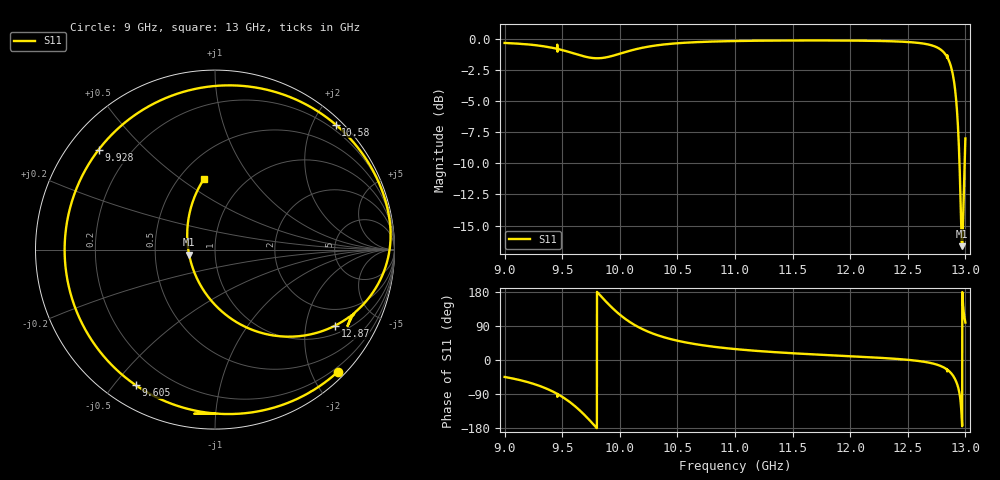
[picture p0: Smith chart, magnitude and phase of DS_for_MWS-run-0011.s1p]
! TOUCHSTONE file generated by CST DESIGN STUDIO
! Date and time: Tue Feb  4 18:18:09 2025
! Project name: C:\Work\MatlabApps\UnitCellOptimizationMatlab\CST\unitcell.cst
! Tree item: Tasks\Sweep1\SPara1\S-Parameters
! Header version: 2024
! Port assignment regex: !\s*Touchstone port\s*([0-9]+)\s*=\s*(CST MWS port|CST DES external port|CST DES block port)\s*(.+)\s* \(\"(.*)\"\)(\s*mode\s*([0-9]+))?.*
! Touchstone port assignment:
! Touchstone port 1 = CST DES external port 1 ("")
# GHz S MA R 50
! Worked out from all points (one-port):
!   4001 points, 9 GHz to 13 GHz, reference 50 ohm
!   lowest |S11| = -16.7 dB at 12.97 GHz (marker M1), VSWR 1.34, Z = 37.4 - j2.23 ohm
!   |S11| at or under -10 dB: 12.94896 GHz to 12.99234 GHz (43.38 MHz wide, 0.334 % of centre)
!   S11 on the Smith chart (normalised r, x): 9 GHz: 0.12, -2.43; 9.605 GHz: 0.09, -0.57; 9.928 GHz: 0.09, +0.37; 10.58 GHz: 0.11, +2.35; 12.87 GHz: 1.29, -2.92; 13 GHz: 0.66, +0.61
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9  0.9654 -44.7
9.276  0.9445 -65.4
9.389  0.9277 -79.0
9.5  0.9037 -97.1
9.605  0.875 -120.3
9.685  0.8535 -142.5
9.776  0.8388 -171.5
9.848  0.8401 164.5
9.928  0.8545 139.4
10  0.8737 119.7
10.106  0.9028 96.5
10.241  0.9319 75.3
10.362  0.9495 62.0
10.5  0.9627 50.9
10.578  0.968 46.0
11  0.9827 28.9
11.5  0.9876 17.8
12  0.9868 10.0
12.5  0.9739 0.5
12.756  0.9255 -12.5
12.82  0.8767 -20.9
12.869  0.7911 -32.4
12.904  0.662 -47.0
12.928  0.5081 -63.4
12.949  0.3158 -88.6
12.961  0.1981 -118.2
12.971  0.1469 -168.6
13  0.3984 98.9
